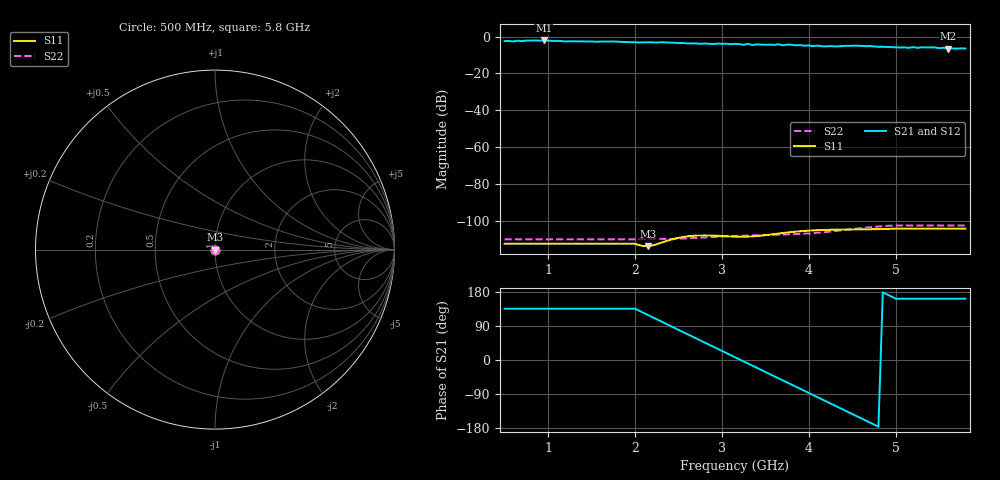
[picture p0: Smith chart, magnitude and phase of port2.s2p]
# GHZ S RI R 50
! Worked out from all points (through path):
!   107 points, 500 MHz to 5.8 GHz, reference 50 ohm
!   highest |S21| = -2.13 dB at 950 MHz (marker M1); lowest = -6.6 dB at 5.6 GHz (marker M2)
!   lowest |S11| = -113.7 dB at 2.15 GHz (marker M3), VSWR 1.00, Z = 50 + j4.61e-05 ohm
!   |S11| at or under -10 dB: start of sweep to end of sweep
!   |S22| runs from -110.0 to -102.4 dB; largest |S21 - S12| = 0
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0.5  1.29e-06 2.04e-06  -0.5352 0.5287  -0.5352 0.5287  1.86e-06 -2.57e-06
0.95  1.29e-06 2.04e-06  -0.5568 0.55  -0.5568 0.55  1.86e-06 -2.57e-06
1.4  1.29e-06 2.04e-06  -0.5257 0.5193  -0.5257 0.5193  1.86e-06 -2.57e-06
2  1.29e-06 2.04e-06  -0.4969 0.4909  -0.4969 0.4909  1.86e-06 -2.57e-06
2.15  2.02e-06 4.61e-07  -0.3352 0.6142  -0.3352 0.6142  8.18e-07 -3.17e-06
2.3  2.29e-06 -1.15e-06  -0.1446 0.6858  -0.1446 0.6858  -4.25e-07 -3.24e-06
2.55  1.69e-06 -3.26e-06  0.1838 0.6433  0.1838 0.6433  -2.27e-06 -2.44e-06
2.7  8.34e-07 -3.92e-06  0.3515 0.5488  0.3515 0.5488  -3.18e-06 -1.38e-06
2.95  -1e-06 -3.83e-06  0.5601 0.3175  0.5601 0.3175  -3.47e-06 1.37e-06
3.15  -2.46e-06 -2.84e-06  0.628 0.0806  0.628 0.0806  -1.87e-06 3.43e-06
3.25  -3.07e-06 -2.12e-06  0.5945 -0.0395  0.5945 -0.0395  -5.58e-07 3.94e-06
3.3  -3.35e-06 -1.72e-06  0.6296 -0.1037  0.6296 -0.1037  1.58e-07 4.01e-06
3.65  -4.35e-06 1.36e-06  0.4115 -0.4609  0.4115 -0.4609  4.04e-06 1.27e-06
3.9  -4.05e-06 3.36e-06  0.1414 -0.5674  0.1414 -0.5674  3.95e-06 -2.07e-06
4.05  -3.5e-06 4.31e-06  -0.0255 -0.5464  -0.0255 -0.5464  2.86e-06 -3.71e-06
4.25  -2.44e-06 5.23e-06  -0.2322 -0.5005  -0.2322 -0.5005  5.63e-07 -5.13e-06
4.55  -4.2e-07 5.88e-06  -0.4774 -0.2957  -0.4774 -0.2957  -4.08e-06 -4.68e-06
4.7  6.77e-07 5.91e-06  -0.5325 -0.1437  -0.5325 -0.1437  -6.16e-06 -2.79e-06
4.95  2.48e-06 5.63e-06  -0.5028 0.1133  -0.5028 0.1133  -7.12e-06 2.24e-06
5  2.83e-06 5.53e-06  -0.4844 0.1598  -0.4844 0.1598  -6.8e-06 3.29e-06
5.6  2.83e-06 5.53e-06  -0.4441 0.1465  -0.4441 0.1465  -6.8e-06 3.29e-06
5.8  2.83e-06 5.53e-06  -0.4486 0.148  -0.4486 0.148  -6.8e-06 3.29e-06
